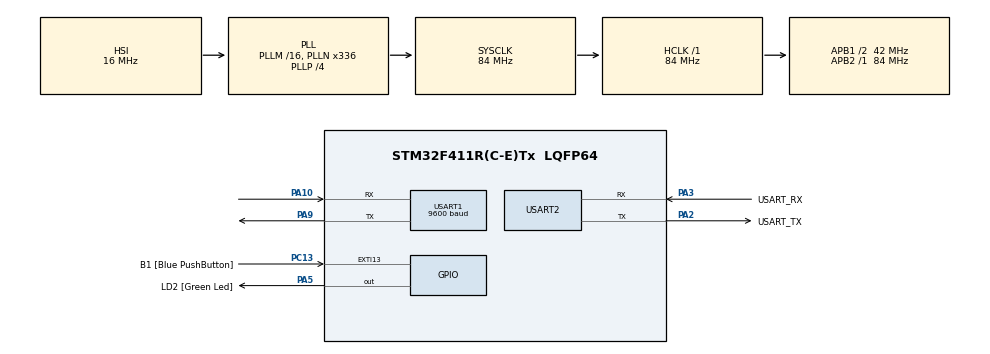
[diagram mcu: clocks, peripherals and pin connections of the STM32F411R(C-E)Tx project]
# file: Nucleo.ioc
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FREERTOS.INCLUDE_vTaskDelayUntil=1
FREERTOS.Tasks01=ControlLogic,0,128,startControlLogic,Default,NULL,Static,ControlLogicBuffer,ControlLogicControlBlock;Acquisition,3,128,startAcquisition,Default,NULL,Static,AcquisitionBuffer,AcquisitionControlBlock;Processing,0,128,startProcessing,Default,NULL,Static,ProcessingBuffer,ProcessingControlBlock;Monitoring,-2,128,startMonitoring,Default,NULL,Static,MonitoringBuffer,MonitoringControlBlock
Mcu.Family=STM32F4
Mcu.Name=STM32F411R(C-E)Tx
Mcu.Package=LQFP64
NVIC.PriorityGroup=NVIC_PRIORITYGROUP_4
PA10.Mode=Asynchronous
PA10.Signal=USART1_RX
PA13.GPIO_Label=TMS
PA13.Mode=Serial_Wire
PA13.Signal=SYS_JTMS-SWDIO
PA14.GPIO_Label=TCK
PA14.Mode=Serial_Wire
PA14.Signal=SYS_JTCK-SWCLK
PA2.GPIO_Label=USART_TX
PA2.Mode=Asynchronous
PA2.Signal=USART2_TX
PA3.GPIO_Label=USART_RX
PA3.Mode=Asynchronous
PA3.Signal=USART2_RX
PA5.GPIO_Label=LD2 [Green Led]
PA5.Signal=GPIO_Output
PA9.Mode=Asynchronous
PA9.Signal=USART1_TX
PB3.GPIO_Label=SWO
PB3.Signal=SYS_JTDO-SWO
PC13-ANTI_TAMP.GPIO_Label=B1 [Blue PushButton]
PC13-ANTI_TAMP.GPIO_ModeDefaultEXTI=GPIO_MODE_IT_FALLING
PC13-ANTI_TAMP.Signal=GPXTI13
PC14-OSC32_IN.Mode=LSE-External-Oscillator
PC14-OSC32_IN.Signal=RCC_OSC32_IN
PC15-OSC32_OUT.Mode=LSE-External-Oscillator
PC15-OSC32_OUT.Signal=RCC_OSC32_OUT
PH0\ -\ OSC_IN.Mode=HSE-External-Clock-Source
PH0\ -\ OSC_IN.Signal=RCC_OSC_IN
PH1\ -\ OSC_OUT.Mode=HSE-External-Clock-Source
PH1\ -\ OSC_OUT.Signal=RCC_OSC_OUT
ProjectManager.HeapSize=0x200
ProjectManager.StackSize=0x400
ProjectManager.TargetToolchain=STM32CubeIDE
RCC.48MHZClocksFreq_Value=84000000
RCC.AHBFreq_Value=84000000
RCC.APB1CLKDivider=RCC_HCLK_DIV2
RCC.APB1Freq_Value=42000000
RCC.APB1TimFreq_Value=84000000
RCC.APB2Freq_Value=84000000
RCC.APB2TimFreq_Value=84000000
RCC.CortexFreq_Value=84000000
RCC.FLatency-AdvancedSettings=FLASH_LATENCY_2
RCC.HCLKFreq_Value=84000000
RCC.HSE_VALUE=8000000
RCC.HSI_VALUE=16000000
RCC.PLLN=336
RCC.PLLP=RCC_PLLP_DIV4
RCC.SYSCLKFreq_VALUE=84000000
RCC.SYSCLKSource=RCC_SYSCLKSOURCE_PLLCLK
RCC.VCOOutputFreq_Value=336000000
USART1.BaudRate=9600
USART1.VirtualMode=VM_ASYNC
USART2.VirtualMode=VM_ASYNC
VP_FREERTOS_VS_CMSIS_V1.Mode=CMSIS_V1
board=NUCLEO-F411RE

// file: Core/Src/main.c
/* USER CODE BEGIN Header */
/**
  ******************************************************************************
  * @file           : main.c
  * @brief          : Main program body
  ******************************************************************************
  * @attention
  *
  * <h2><center>&copy; Copyright (c) 2021 STMicroelectronics.
  * All rights reserved.</center></h2>
  *
  * This software component is licensed by ST under BSD 3-Clause license,
  * the "License"; You may not use this file except in compliance with the
  * License. You may obtain a copy of the License at:
  *                        opensource.org/licenses/BSD-3-Clause
  *
  ******************************************************************************
  */
/* USER CODE END Header */
#include "main.h"
#include "cmsis_os.h"

/* USER CODE BEGIN Includes */
#include "task.h"
/* User-defined libraries */
#include <stdio.h>
#include <stdbool.h>
#include <stdint.h>

#include "retarget.h"

#include "../IncPSP/acquisition.h"
#include "../IncPSP/common.h"
#include "../IncPSP/controlLogic.h"
#include "../IncPSP/monitoring.h"
#include "../IncPSP/processing.h"
#include "../IncPSP/storage.h"
#include "../IncPSP/transmission.h"
#include "../IncPSP/gpio.h"
#include <string.h>

/* USER CODE END Includes */

UART_HandleTypeDef huart1;
UART_HandleTypeDef huart2;

osThreadId ControlLogicHandle;
uint32_t ControlLogicBuffer[ 128 ];
osStaticThreadDef_t ControlLogicControlBlock;
osThreadId AcquisitionHandle;
uint32_t AcquisitionBuffer[ 128 ];
osStaticThreadDef_t AcquisitionControlBlock;
osThreadId ProcessingHandle;
uint32_t ProcessingBuffer[ 128 ];
osStaticThreadDef_t ProcessingControlBlock;
osThreadId MonitoringHandle;
uint32_t MonitoringBuffer[ 128 ];
osStaticThreadDef_t MonitoringControlBlock;

void SystemClock_Config(void);
static void MX_GPIO_Init(void);
static void MX_USART2_UART_Init(void);
static void MX_USART1_UART_Init(void);
void startControlLogic(void const * argument);
void startAcquisition(void const * argument);
void startProcessing(void const * argument);
void startMonitoring(void const * argument);

int main(void)
{

  /* MCU Configuration--------------------------------------------------------*/

  /* Reset of all peripherals, Initializes the Flash interface and the Systick. */
  HAL_Init();

  /* Configure the system clock */
  SystemClock_Config();

  /* Initialize all configured peripherals */
  MX_GPIO_Init();
  MX_USART2_UART_Init();
  MX_USART1_UART_Init();
  /* USER CODE BEGIN 2 */
  RetargetInit(&huart2);
  for(int i = 0; i < 500; i++) printf(" \r\n");
  HAL_Delay(250);
  printf("Starting:\r\n");
  HAL_Delay(250);
  /* USER CODE END 2 */

  /* Create the thread(s) */
  /* definition and creation of ControlLogic */
  osThreadStaticDef(ControlLogic, startControlLogic, osPriorityNormal, 0, 128, ControlLogicBuffer, &ControlLogicControlBlock);
  ControlLogicHandle = osThreadCreate(osThread(ControlLogic), NULL);

  /* definition and creation of Acquisition */
  osThreadStaticDef(Acquisition, startAcquisition, osPriorityRealtime, 0, 128, AcquisitionBuffer, &AcquisitionControlBlock);
  AcquisitionHandle = osThreadCreate(osThread(Acquisition), NULL);

  /* definition and creation of Processing */
  osThreadStaticDef(Processing, startProcessing, osPriorityNormal, 0, 128, ProcessingBuffer, &ProcessingControlBlock);
  ProcessingHandle = osThreadCreate(osThread(Processing), NULL);

  /* definition and creation of Monitoring */
  osThreadStaticDef(Monitoring, startMonitoring, osPriorityLow, 0, 128, MonitoringBuffer, &MonitoringControlBlock);
  MonitoringHandle = osThreadCreate(osThread(Monitoring), NULL);

  /* Start scheduler */
  osKernelStart();

  /* We should never get here as control is now taken by the scheduler */
  /* Infinite loop */
  while (1)
  {

  }
}

void SystemClock_Config(void)
{
  RCC_OscInitTypeDef RCC_OscInitStruct = {0};
  RCC_ClkInitTypeDef RCC_ClkInitStruct = {0};

  /** Configure the main internal regulator output voltage
  */
  __HAL_RCC_PWR_CLK_ENABLE();
  __HAL_PWR_VOLTAGESCALING_CONFIG(PWR_REGULATOR_VOLTAGE_SCALE1);
  /** Initializes the RCC Oscillators according to the specified parameters
  * in the RCC_OscInitTypeDef structure.
  */
  RCC_OscInitStruct.OscillatorType = RCC_OSCILLATORTYPE_HSI;
  RCC_OscInitStruct.HSIState = RCC_HSI_ON;
  RCC_OscInitStruct.HSICalibrationValue = RCC_HSICALIBRATION_DEFAULT;
  RCC_OscInitStruct.PLL.PLLState = RCC_PLL_ON;
  RCC_OscInitStruct.PLL.PLLSource = RCC_PLLSOURCE_HSI;
  RCC_OscInitStruct.PLL.PLLM = 16;
  RCC_OscInitStruct.PLL.PLLN = 336;
  RCC_OscInitStruct.PLL.PLLP = RCC_PLLP_DIV4;
  RCC_OscInitStruct.PLL.PLLQ = 4;
  if (HAL_RCC_OscConfig(&RCC_OscInitStruct) != HAL_OK)
  {
    Error_Handler();
  }
  /** Initializes the CPU, AHB and APB buses clocks
  */
  RCC_ClkInitStruct.ClockType = RCC_CLOCKTYPE_HCLK|RCC_CLOCKTYPE_SYSCLK
                              |RCC_CLOCKTYPE_PCLK1|RCC_CLOCKTYPE_PCLK2;
  RCC_ClkInitStruct.SYSCLKSource = RCC_SYSCLKSOURCE_PLLCLK;
  RCC_ClkInitStruct.AHBCLKDivider = RCC_SYSCLK_DIV1;
  RCC_ClkInitStruct.APB1CLKDivider = RCC_HCLK_DIV2;
  RCC_ClkInitStruct.APB2CLKDivider = RCC_HCLK_DIV1;

  if (HAL_RCC_ClockConfig(&RCC_ClkInitStruct, FLASH_LATENCY_2) != HAL_OK)
  {
    Error_Handler();
  }
}

static void MX_USART1_UART_Init(void)
{

  huart1.Instance = USART1;
  huart1.Init.BaudRate = 9600;
  huart1.Init.WordLength = UART_WORDLENGTH_8B;
  huart1.Init.StopBits = UART_STOPBITS_1;
  huart1.Init.Parity = UART_PARITY_NONE;
  huart1.Init.Mode = UART_MODE_TX_RX;
  huart1.Init.HwFlowCtl = UART_HWCONTROL_NONE;
  huart1.Init.OverSampling = UART_OVERSAMPLING_16;
  if (HAL_UART_Init(&huart1) != HAL_OK)
  {
    Error_Handler();
  }

}

static void MX_USART2_UART_Init(void)
{

  huart2.Instance = USART2;
  huart2.Init.BaudRate = 115200;
  huart2.Init.WordLength = UART_WORDLENGTH_8B;
  huart2.Init.StopBits = UART_STOPBITS_1;
  huart2.Init.Parity = UART_PARITY_NONE;
  huart2.Init.Mode = UART_MODE_TX_RX;
  huart2.Init.HwFlowCtl = UART_HWCONTROL_NONE;
  huart2.Init.OverSampling = UART_OVERSAMPLING_16;
  if (HAL_UART_Init(&huart2) != HAL_OK)
  {
    Error_Handler();
  }

}

static void MX_GPIO_Init(void)
{
  GPIO_InitTypeDef GPIO_InitStruct = {0};

  /* GPIO Ports Clock Enable */
  __HAL_RCC_GPIOC_CLK_ENABLE();
  __HAL_RCC_GPIOH_CLK_ENABLE();
  __HAL_RCC_GPIOA_CLK_ENABLE();
  __HAL_RCC_GPIOB_CLK_ENABLE();

  /*Configure GPIO pin Output Level */
  HAL_GPIO_WritePin(LD2_GPIO_Port, LD2_Pin, GPIO_PIN_RESET);

  /*Configure GPIO pin : B1_Pin */
  GPIO_InitStruct.Pin = B1_Pin;
  GPIO_InitStruct.Mode = GPIO_MODE_IT_FALLING;
  GPIO_InitStruct.Pull = GPIO_NOPULL;
  HAL_GPIO_Init(B1_GPIO_Port, &GPIO_InitStruct);

  /*Configure GPIO pin : LD2_Pin */
  GPIO_InitStruct.Pin = LD2_Pin;
  GPIO_InitStruct.Mode = GPIO_MODE_OUTPUT_PP;
  GPIO_InitStruct.Pull = GPIO_NOPULL;
  GPIO_InitStruct.Speed = GPIO_SPEED_FREQ_LOW;
  HAL_GPIO_Init(LD2_GPIO_Port, &GPIO_InitStruct);

}

/* USER CODE BEGIN 4 */
//bool printDiv = true;
bool printDiv = false;
int tog = 0;
/* USER CODE END 4 */

void startControlLogic(void const * argument)
{
  /* USER CODE BEGIN 5 */
	static TickType_t time_init = 0;
  /* Infinite loop */
	while(ENABLE_CONTROL_LOGIC) {

		if(printDiv) printf("-------------\r\n");

		vTaskDelayUntil(&time_init, CONTROL_LOGIC_TASK_DELAY);
	}
	vTaskDelete(NULL);
  /* USER CODE END 5 */
}

void startAcquisition(void const * argument)
{
  /* USER CODE BEGIN startAcquisition */
	static TickType_t time_init = 0;

	setup_A();
	printf("\n\n");
  /* Infinite loop */
	while(ENABLE_ACQUISITION) {
		switch(loop_A()) {
		case 1: vTaskDelayUntil(&time_init, ACQUISITION_TASK_DELAY1);
				break;

		case 2: vTaskDelayUntil(&time_init, ACQUISITION_TASK_DELAY2);
				break;

		default:vTaskDelayUntil(&time_init, ACQUISITION_TASK_DELAY0);
				break;
		}
		if(time_init > 4000) break;
	}
	//printf("%d\n\r",time_init);
	if(ENABLE_ACQUISITION) printDiv = false;
	vTaskDelete(NULL);

  /* USER CODE END startAcquisition */
}

void startProcessing(void const * argument)
{
  /* USER CODE BEGIN startProcessing */
  /* Infinite loop */
	static TickType_t time_init = 0;
	static GPIO_PinState pressed = GPIO_PIN_SET;
	extern bool imuNominal;
	extern bool alaNominal;
	extern bool bmpNominal;
	extern bool gpsNominal;
  /* Infinite loop */
	while(ENABLE_PROCESSING) {
		toggleLed();

		if(HAL_GPIO_ReadPin(B1_GPIO_Port, B1_Pin) != pressed) {
			pressed = HAL_GPIO_ReadPin(B1_GPIO_Port, B1_Pin);
			//gpsNominal = false;
			//bmpNominal = false;
			imuNominal = false;
			alaNominal = false;
		}
		vTaskDelayUntil(&time_init, PROCESSING_TASK_DELAY);
	}
	vTaskDelete(NULL);
  /* USER CODE END startProcessing */
}

void startMonitoring(void const * argument)
{
  /* USER CODE BEGIN startMonitoring */
	static GPIO_PinState pressed = GPIO_PIN_SET;
	static int counter = 0;
	static TickType_t time_init = 0;
  /* Infinite loop */
	while(ENABLE_MONITORING) {
		//loop_M();
		if(HAL_GPIO_ReadPin(B1_GPIO_Port, B1_Pin) != pressed) {
			pressed = HAL_GPIO_ReadPin(B1_GPIO_Port, B1_Pin);
			if(!pressed) printf("PRESSED  %d\r\n", ++counter);
			else printf("RELEASED %d\r\n", counter);
		}

		vTaskDelayUntil(&time_init, MONITORING_TASK_DELAY);
	}

	vTaskDelete(NULL);
  /* USER CODE END startMonitoring */
}

void Error_Handler(void)
{
  __disable_irq();
  while (1)
  {
  }
}

/************************ (C) COPYRIGHT STMicroelectronics *****END OF FILE****/
